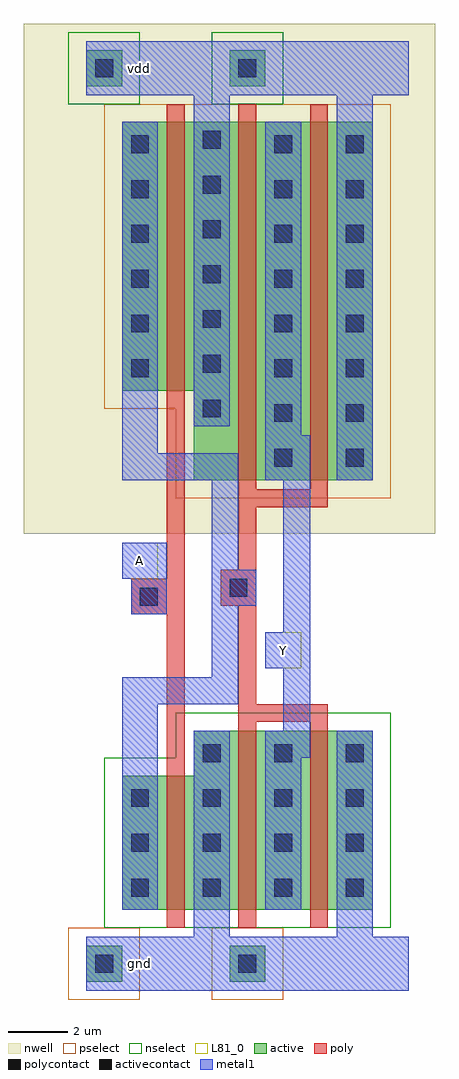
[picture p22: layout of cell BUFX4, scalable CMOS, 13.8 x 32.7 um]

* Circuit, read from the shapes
.subckt BUFX4 A Y gnd vdd
M1 gnd A n1 gnd nfet w=4.5u l=0.6u
M2 Y n1 gnd gnd nfet w=6u l=0.6u m=2
M3 vdd A n1 vdd pfet w=9u l=0.6u
M4 Y n1 vdd vdd pfet w=12u l=0.6u m=2
.ends

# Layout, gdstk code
import gdstk
lib = gdstk.Library(unit=1e-6, precision=1e-08)
def R(c, l, rs):  # rectangles x0, y0, x1, y1
    for r in rs: c.add(gdstk.rectangle(r[:2], r[2:], *l))
def A(c, l, x, y, w, h, nx, ny, dx, dy):  # array of equal rectangles
    R(c, l, [(x+i*dx, y+j*dy, x+i*dx+w, y+j*dy+h) for i in range(nx) for j in range(ny)])
nwell = (42, 0)
active = (43, 0)
pselect = (44, 0)
nselect = (45, 0)
poly = (46, 0)
polycontact = (47, 0)
activecontact = (48, 0)
metal1 = (49, 0)
L81_0 = (81, 0)

bufx4 = lib.new_cell('BUFX4')
R(bufx4, nwell, [(-2.7,14.4,11.1,31.5)])
R(bufx4, active, [(-0.6,-0.6,0.6,0.6), (4.2,-0.6,5.4,0.6), (0.6,1.8,9,6.3), (3,6.3,9,7.8), (3,16.2,9,19.2), (0.6,19.2,9,28.2), (-0.6,29.4,0.6,30.6), (4.2,29.4,5.4,30.6)])
R(bufx4, pselect, [(-1.2,-1.2,1.2,1.2), (3.6,-1.2,6,1.2), (2.4,15.6,9.6,18.6), (0,18.6,9.6,28.8)])
R(bufx4, nselect, [(0,1.2,9.6,6.9), (2.4,6.9,9.6,8.4), (-1.2,28.8,1.2,31.2), (3.6,28.8,6,31.2)])
R(bufx4, poly, [(2.1,1.2,2.7,11.7), (4.5,1.2,5.1,8.1), (6.9,1.2,7.5,8.1), (4.5,8.1,7.5,8.7), (4.5,8.7,5.1,12), (0.9,11.7,2.7,12.9), (3.9,12,5.1,13.2), (2.1,12.9,2.7,28.8), (4.5,13.2,5.1,15.3), (4.5,15.3,7.5,15.9), (4.5,15.9,5.1,28.8), (6.9,15.9,7.5,28.8)])
R(bufx4, polycontact, [(1.2,12,1.8,12.6), (4.2,12.3,4.8,12.9)])
A(bufx4, activecontact, 0.9, 2.25, 0.6, 0.6, 4, 3, 2.4, 1.5)
A(bufx4, activecontact, 3.3, 6.75, 0.6, 0.6, 3, 1, 2.4, 0)
A(bufx4, activecontact, 5.7, 16.65, 0.6, 0.6, 1, 8, 0, 1.5)
A(bufx4, activecontact, 8.1, 16.65, 0.6, 0.6, 1, 8, 0, 1.5)
A(bufx4, activecontact, 3.3, 18.3, 0.6, 0.6, 1, 7, 0, 1.5)
A(bufx4, activecontact, 0.9, 19.65, 0.6, 0.6, 1, 6, 0, 1.5)
R(bufx4, activecontact, [(-0.3,-0.3,0.3,0.3), (4.5,-0.3,5.1,0.3), (-0.3,29.7,0.3,30.3), (4.5,29.7,5.1,30.3)])
R(bufx4, metal1, [(-0.6,-0.9,10.2,0.9), (3,0.9,4.2,7.8), (7.8,0.9,9,7.8), (0.6,1.8,1.8,8.7), (5.4,1.8,6.6,6.9), (5.4,6.9,6.9,7.8), (6,7.8,6.9,9.9), (0.6,8.7,4.5,9.6), (3.6,9.6,4.5,12), (5.4,9.9,6.9,11.1), (6,11.1,6.9,16.2), (0.9,11.7,2.1,12.9), (3.6,12,5.1,13.2), (0.6,12.9,2.1,14.1), (3.6,13.2,4.5,16.2), (0.6,16.2,4.5,17.1), (5.4,16.2,6.9,17.7), (7.8,16.2,9,29.1), (0.6,17.1,1.8,28.2), (5.4,17.7,6.6,28.2), (3,18,4.2,29.1), (-0.6,29.1,10.2,30.9)])
R(bufx4, L81_0, [(5.4,9.9,6.6,11.1), (0.6,12.9,1.8,14.1)])
bufx4.add(gdstk.Label('vdd', (1.2,30), layer=109, texttype=0))
bufx4.add(gdstk.Label('gnd', (1.2,0), layer=109, texttype=0))
bufx4.add(gdstk.Label('A', (1.2,13.5), layer=109, texttype=0))
bufx4.add(gdstk.Label('Y', (6,10.5), layer=109, texttype=0))

lib.write_gds('BUFX4.gds')
